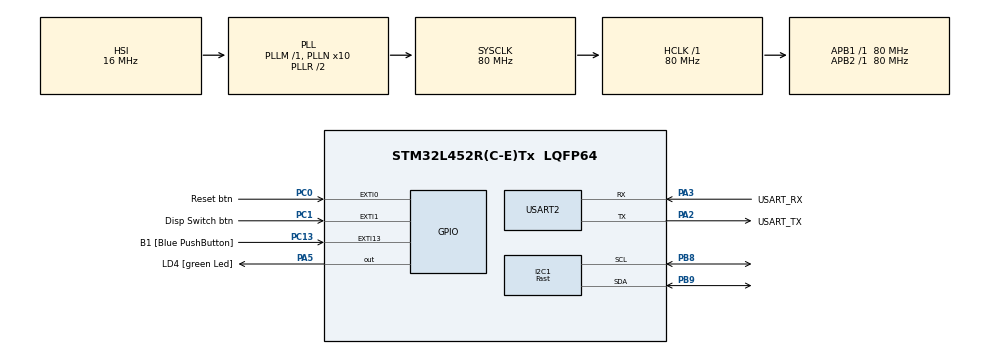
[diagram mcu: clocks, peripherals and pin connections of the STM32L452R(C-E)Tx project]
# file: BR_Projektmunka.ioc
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Dma.Request0=USART2_RX
Dma.USART2_RX.0.Direction=DMA_PERIPH_TO_MEMORY
Dma.USART2_RX.0.Instance=DMA1_Channel6
Dma.USART2_RX.0.MemDataAlignment=DMA_MDATAALIGN_BYTE
Dma.USART2_RX.0.MemInc=DMA_MINC_ENABLE
Dma.USART2_RX.0.Mode=DMA_CIRCULAR
Dma.USART2_RX.0.PeriphDataAlignment=DMA_PDATAALIGN_BYTE
Dma.USART2_RX.0.PeriphInc=DMA_PINC_DISABLE
Dma.USART2_RX.0.Priority=DMA_PRIORITY_LOW
FREERTOS.Mutexes01=mutexI2c,Dynamic,NULL,Available
FREERTOS.Queues01=displayQueue,8,s_disp_msg_t,0,Dynamic,NULL,NULL
FREERTOS.Tasks01=defaultTask,24,128,StartDefaultTask,Default,NULL,Dynamic,NULL,NULL;MeasureManagerT,24,128,StartMeasureManagerTask,Default,NULL,Dynamic,NULL,NULL;DisplayTask,16,256,StartDisplayTask,Default,NULL,Dynamic,NULL,NULL
FREERTOS.configUSE_NEWLIB_REENTRANT=1
I2C1.I2C_Speed_Mode=I2C_Fast
I2C1.Timing=0x00F12981
Mcu.Family=STM32L4
Mcu.Name=STM32L452R(C-E)Tx
Mcu.Package=LQFP64
NVIC.DMA1_Channel6_IRQn=true\:5\:0\:false\:false\:true\:true\:false\:true\:true
NVIC.EXTI0_IRQn=true\:5\:0\:false\:false\:true\:true\:true\:true\:true
NVIC.EXTI1_IRQn=true\:5\:0\:false\:false\:true\:true\:true\:true\:true
NVIC.PriorityGroup=NVIC_PRIORITYGROUP_4
NVIC.TIM2_IRQn=true\:15\:0\:false\:false\:true\:false\:false\:true\:true
NVIC.TIM6_DAC_IRQn=true\:5\:0\:false\:false\:true\:true\:true\:true\:true
NVIC.TimeBase=TIM2_IRQn
NVIC.TimeBaseIP=TIM2
NVIC.USART2_IRQn=true\:5\:0\:false\:false\:true\:true\:true\:true\:true
PA13\ (JTMS/SWDIO).GPIO_Label=TMS
PA13\ (JTMS/SWDIO).Mode=Serial_Wire
PA13\ (JTMS/SWDIO).Signal=SYS_JTMS-SWDIO
PA14\ (JTCK/SWCLK).GPIO_Label=TCK
PA14\ (JTCK/SWCLK).Mode=Serial_Wire
PA14\ (JTCK/SWCLK).Signal=SYS_JTCK-SWCLK
PA2.GPIO_Label=USART_TX
PA2.GPIO_Mode=GPIO_MODE_AF_PP
PA2.GPIO_PuPd=GPIO_NOPULL
PA2.GPIO_Speed=GPIO_SPEED_FREQ_VERY_HIGH
PA2.Mode=Asynchronous
PA2.Signal=USART2_TX
PA3.GPIO_Label=USART_RX
PA3.GPIO_Mode=GPIO_MODE_AF_PP
PA3.GPIO_PuPd=GPIO_NOPULL
PA3.GPIO_Speed=GPIO_SPEED_FREQ_VERY_HIGH
PA3.Mode=Asynchronous
PA3.Signal=USART2_RX
PA5.GPIO_Label=LD4 [green Led]
PA5.GPIO_ModeDefaultOutputPP=GPIO_MODE_OUTPUT_PP
PA5.GPIO_PuPd=GPIO_NOPULL
PA5.GPIO_Speed=GPIO_SPEED_FREQ_LOW
PA5.Signal=GPIO_Output
PB3\ (JTDO/TRACESWO).GPIO_Label=SWO
PB3\ (JTDO/TRACESWO).Signal=SYS_JTDO-SWO
PB8.Mode=I2C
PB8.Signal=I2C1_SCL
PB9.Mode=I2C
PB9.Signal=I2C1_SDA
PC0.GPIO_Label=Reset btn
PC0.GPIO_ModeDefaultEXTI=GPIO_MODE_IT_FALLING
PC0.GPIO_PuPd=GPIO_PULLUP
PC0.Signal=GPXTI0
PC1.GPIO_Label=Disp Switch btn
PC1.GPIO_ModeDefaultEXTI=GPIO_MODE_IT_FALLING
PC1.GPIO_PuPd=GPIO_PULLUP
PC1.Signal=GPXTI1
PC13.GPIO_Label=B1 [Blue PushButton]
PC13.GPIO_ModeDefaultEXTI=GPIO_MODE_IT_FALLING
PC13.GPIO_PuPd=GPIO_NOPULL
PC13.Signal=GPXTI13
PC14-OSC32_IN\ (PC14).Mode=LSE-External-Oscillator
PC14-OSC32_IN\ (PC14).Signal=RCC_OSC32_IN
PC15-OSC32_OUT\ (PC15).Mode=LSE-External-Oscillator
PC15-OSC32_OUT\ (PC15).Signal=RCC_OSC32_OUT
PH0-OSC_IN\ (PH0).Signal=RCC_OSC_IN
PH1-OSC_OUT\ (PH1).Signal=RCC_OSC_OUT
ProjectManager.HeapSize=0x200
ProjectManager.StackSize=0x400
ProjectManager.TargetToolchain=STM32CubeIDE
RCC.ADCFreq_Value=64000000
RCC.AHBFreq_Value=80000000
RCC.APB1Freq_Value=80000000
RCC.APB1TimFreq_Value=80000000
RCC.APB2Freq_Value=80000000
RCC.APB2TimFreq_Value=80000000
RCC.CortexFreq_Value=80000000
RCC.HCLKFreq_Value=80000000
RCC.HSE_VALUE=8000000
RCC.HSI48_VALUE=48000000
RCC.HSI_VALUE=16000000
RCC.MSI_VALUE=4000000
RCC.PLLN=10
RCC.PLLSourceVirtual=RCC_PLLSOURCE_HSI
RCC.PREFETCH_ENABLE=1
RCC.RTCClockSelection=RCC_RTCCLKSOURCE_LSE
RCC.SYSCLKFreq_VALUE=80000000
RCC.SYSCLKSource=RCC_SYSCLKSOURCE_PLLCLK
RCC.USBFreq_Value=64000000
RCC.VCOOutputFreq_Value=160000000
RTC.Format=RTC_FORMAT_BIN
RTC.WeekDay=RTC_WEEKDAY_THURSDAY
RTC.Year=26
TIM6.AutoReloadPreload=TIM_AUTORELOAD_PRELOAD_ENABLE
TIM6.Period=99
TIM6.Prescaler=7999
USART2.VirtualMode-Asynchronous=VM_ASYNC
VP_FREERTOS_VS_CMSIS_V2.Mode=CMSIS_V2
VP_RTC_VS_RTC_Activate.Mode=RTC_Enabled
VP_RTC_VS_RTC_Calendar.Mode=RTC_Calendar
VP_SYS_VS_tim2.Mode=TIM2
VP_TIM6_VS_ClockSourceINT.Mode=Enable_Timer
board=NUCLEO-L452RE

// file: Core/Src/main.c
/* USER CODE BEGIN Header */
/**
 ******************************************************************************
 * @file           : main.c
 * @brief          : Main program body
 ******************************************************************************
 * @attention
 *
 * Copyright (c) 2026 STMicroelectronics.
 * All rights reserved.
 *
 * This software is licensed under terms that can be found in the LICENSE file
 * in the root directory of this software component.
 * If no LICENSE file comes with this software, it is provided AS-IS.
 *
 ******************************************************************************
 */
/* USER CODE END Header */
#include "main.h"
#include "cmsis_os.h"

/* USER CODE BEGIN Includes */
#include <stdio.h>
#include "display_driver.h"
#include "display_module.h"
#include "ugui.h"
#include "step_counter.h"
#include "accelerometer_driver.h"
#include "ir_sensor.h"
#include "pulse_meter.h"
#include "uart_comm.h"
/* USER CODE END Includes */

/* USER CODE BEGIN PD */
#define FLAG_MEASURE_TICK  0x0001U  // TIM6 -> MeasureManagerT: next 10 ms sample
#define FLAG_STEP_RESET    0x0002U  // Reset button (EXTI0) -> MeasureManagerT

#define DISPLAY_REFRESH_MS    1000u  // Redraw period without new messages (clock)
#define BTN_DEBOUNCE_MS       200u   // Ignore further edges of a button for 200 ms after a press
/* USER CODE END PD */

I2C_HandleTypeDef hi2c1;

RTC_HandleTypeDef hrtc;

TIM_HandleTypeDef htim6;

UART_HandleTypeDef huart2;
DMA_HandleTypeDef hdma_usart2_rx;

/* Definitions for defaultTask */
osThreadId_t defaultTaskHandle;
const osThreadAttr_t defaultTask_attributes = { .name = "defaultTask",
		.stack_size = 128 * 4, .priority = (osPriority_t) osPriorityNormal, };
/* Definitions for MeasureManagerT */
osThreadId_t MeasureManagerTHandle;
const osThreadAttr_t MeasureManagerT_attributes = { .name = "MeasureManagerT",
		.stack_size = 128 * 4, .priority = (osPriority_t) osPriorityNormal, };
/* Definitions for DisplayTask */
osThreadId_t DisplayTaskHandle;
const osThreadAttr_t DisplayTask_attributes =
		{ .name = "DisplayTask", .stack_size = 256 * 4, .priority =
				(osPriority_t) osPriorityBelowNormal, };
/* Definitions for displayQueue */
osMessageQueueId_t displayQueueHandle;
const osMessageQueueAttr_t displayQueue_attributes = { .name = "displayQueue" };
/* Definitions for mutexI2c */
osMutexId_t mutexI2cHandle;
const osMutexAttr_t mutexI2c_attributes = { .name = "mutexI2c" };

void SystemClock_Config(void);
static void MX_GPIO_Init(void);
static void MX_DMA_Init(void);
static void MX_USART2_UART_Init(void);
static void MX_TIM6_Init(void);
static void MX_I2C1_Init(void);
static void MX_RTC_Init(void);
void StartDefaultTask(void *argument);
void StartMeasureManagerTask(void *argument);
void StartDisplayTask(void *argument);

/* USER CODE BEGIN 0 */
/*******************************************************************************
 ********************** PLATFORM SPECIFIC PORT FUNCTIONS ***********************
 ******************************************************************************/
int port_i2c_transmit(uint16_t dev_addr, uint16_t mem_addr,
		uint16_t mem_addr_size, uint8_t *pdata, uint16_t size, uint32_t timeout) {
	// I2C1 is shared between tasks (display, accelerometer, IR sensor) -> serialize access
	if (osMutexAcquire(mutexI2cHandle, osWaitForever) != osOK)
		return HAL_BUSY;
	int ret = HAL_I2C_Mem_Write(&hi2c1, dev_addr, mem_addr, mem_addr_size,
			pdata, size, timeout);
	osMutexRelease(mutexI2cHandle);
	return ret;
}

int port_i2c_receive(uint16_t dev_addr, uint16_t mem_addr,
		uint16_t mem_addr_size, uint8_t *pdata, uint16_t size, uint32_t timeout) {
	// I2C1 is shared between tasks (display, accelerometer, IR sensor) -> serialize access
	if (osMutexAcquire(mutexI2cHandle, osWaitForever) != osOK)
		return HAL_BUSY;
	int ret = HAL_I2C_Mem_Read(&hi2c1, dev_addr, mem_addr, mem_addr_size, pdata,
			size, timeout);
	osMutexRelease(mutexI2cHandle);
	return ret;
}
void HAL_UART_RxCpltCallback(UART_HandleTypeDef *huart) {
	if (huart->Instance == USART2) {
		UartComm_RxCharReceived(g_uart_rx_char[0u]);
	}
}

void port_time_delay(uint32_t delay_ms) {
//  HAL_Delay(delay_ms);
	osDelay(delay_ms);
}

uint32_t get_systick(void) {
	return HAL_GetTick();
}

/* USER CODE END 0 */

int main(void) {

	/* MCU Configuration--------------------------------------------------------*/

	/* Reset of all peripherals, Initializes the Flash interface and the Systick. */
	HAL_Init();

	/* Configure the system clock */
	SystemClock_Config();

	/* Initialize all configured peripherals */
	MX_GPIO_Init();
	MX_DMA_Init();
	MX_USART2_UART_Init();
	MX_TIM6_Init();
	MX_I2C1_Init();
	MX_RTC_Init();
	/* USER CODE BEGIN 2 */
	HAL_TIM_Base_Start_IT(&htim6);
	HAL_UART_Receive_DMA(&huart2, g_uart_rx_char, 1u);
	/* USER CODE END 2 */

	/* Init scheduler */
	osKernelInitialize();
	/* Create the mutex(es) */
	/* creation of mutexI2c */
	mutexI2cHandle = osMutexNew(&mutexI2c_attributes);

	/* Create the queue(s) */
	/* creation of displayQueue */
	displayQueueHandle = osMessageQueueNew(8, sizeof(s_disp_msg_t),
			&displayQueue_attributes);

	/* Create the thread(s) */
	/* creation of defaultTask */
	defaultTaskHandle = osThreadNew(StartDefaultTask, NULL,
			&defaultTask_attributes);

	/* creation of MeasureManagerT */
	MeasureManagerTHandle = osThreadNew(StartMeasureManagerTask, NULL,
			&MeasureManagerT_attributes);

	/* creation of DisplayTask */
	DisplayTaskHandle = osThreadNew(StartDisplayTask, NULL,
			&DisplayTask_attributes);

	/* Start scheduler */
	osKernelStart();

	/* We should never get here as control is now taken by the scheduler */

	/* Infinite loop */
	while (1) {

	}
}

void SystemClock_Config(void) {
	RCC_OscInitTypeDef RCC_OscInitStruct = { 0 };
	RCC_ClkInitTypeDef RCC_ClkInitStruct = { 0 };

	/** Configure the main internal regulator output voltage
	 */
	if (HAL_PWREx_ControlVoltageScaling(PWR_REGULATOR_VOLTAGE_SCALE1)
			!= HAL_OK) {
		Error_Handler();
	}

	/** Configure LSE Drive Capability
	 */
	HAL_PWR_EnableBkUpAccess();
	__HAL_RCC_LSEDRIVE_CONFIG(RCC_LSEDRIVE_LOW);

	/** Initializes the RCC Oscillators according to the specified parameters
	 * in the RCC_OscInitTypeDef structure.
	 */
	RCC_OscInitStruct.OscillatorType = RCC_OSCILLATORTYPE_HSI
			| RCC_OSCILLATORTYPE_LSE;
	RCC_OscInitStruct.LSEState = RCC_LSE_ON;
	RCC_OscInitStruct.HSIState = RCC_HSI_ON;
	RCC_OscInitStruct.HSICalibrationValue = 64;
	RCC_OscInitStruct.PLL.PLLState = RCC_PLL_ON;
	RCC_OscInitStruct.PLL.PLLSource = RCC_PLLSOURCE_HSI;
	RCC_OscInitStruct.PLL.PLLM = 1;
	RCC_OscInitStruct.PLL.PLLN = 10;
	RCC_OscInitStruct.PLL.PLLP = RCC_PLLP_DIV7;
	RCC_OscInitStruct.PLL.PLLQ = RCC_PLLQ_DIV2;
	RCC_OscInitStruct.PLL.PLLR = RCC_PLLR_DIV2;
	if (HAL_RCC_OscConfig(&RCC_OscInitStruct) != HAL_OK) {
		Error_Handler();
	}

	/** Initializes the CPU, AHB and APB buses clocks
	 */
	RCC_ClkInitStruct.ClockType = RCC_CLOCKTYPE_HCLK | RCC_CLOCKTYPE_SYSCLK
			| RCC_CLOCKTYPE_PCLK1 | RCC_CLOCKTYPE_PCLK2;
	RCC_ClkInitStruct.SYSCLKSource = RCC_SYSCLKSOURCE_PLLCLK;
	RCC_ClkInitStruct.AHBCLKDivider = RCC_SYSCLK_DIV1;
	RCC_ClkInitStruct.APB1CLKDivider = RCC_HCLK_DIV1;
	RCC_ClkInitStruct.APB2CLKDivider = RCC_HCLK_DIV1;

	if (HAL_RCC_ClockConfig(&RCC_ClkInitStruct, FLASH_LATENCY_4) != HAL_OK) {
		Error_Handler();
	}
}

static void MX_I2C1_Init(void) {

	hi2c1.Instance = I2C1;
	hi2c1.Init.Timing = 0x00F12981;
	hi2c1.Init.OwnAddress1 = 0;
	hi2c1.Init.AddressingMode = I2C_ADDRESSINGMODE_7BIT;
	hi2c1.Init.DualAddressMode = I2C_DUALADDRESS_DISABLE;
	hi2c1.Init.OwnAddress2 = 0;
	hi2c1.Init.OwnAddress2Masks = I2C_OA2_NOMASK;
	hi2c1.Init.GeneralCallMode = I2C_GENERALCALL_DISABLE;
	hi2c1.Init.NoStretchMode = I2C_NOSTRETCH_DISABLE;
	if (HAL_I2C_Init(&hi2c1) != HAL_OK) {
		Error_Handler();
	}

	/** Configure Analogue filter
	 */
	if (HAL_I2CEx_ConfigAnalogFilter(&hi2c1, I2C_ANALOGFILTER_ENABLE)
			!= HAL_OK) {
		Error_Handler();
	}

	/** Configure Digital filter
	 */
	if (HAL_I2CEx_ConfigDigitalFilter(&hi2c1, 0) != HAL_OK) {
		Error_Handler();
	}

}

static void MX_RTC_Init(void) {

	RTC_TimeTypeDef sTime = { 0 };
	RTC_DateTypeDef sDate = { 0 };

	/** Initialize RTC Only
	 */
	hrtc.Instance = RTC;
	hrtc.Init.HourFormat = RTC_HOURFORMAT_24;
	hrtc.Init.AsynchPrediv = 127;
	hrtc.Init.SynchPrediv = 255;
	hrtc.Init.OutPut = RTC_OUTPUT_DISABLE;
	hrtc.Init.OutPutRemap = RTC_OUTPUT_REMAP_NONE;
	hrtc.Init.OutPutPolarity = RTC_OUTPUT_POLARITY_HIGH;
	hrtc.Init.OutPutType = RTC_OUTPUT_TYPE_OPENDRAIN;
	if (HAL_RTC_Init(&hrtc) != HAL_OK) {
		Error_Handler();
	}

	/** Initialize RTC and set the Time and Date
	 */
	sTime.Hours = 0;
	sTime.Minutes = 0;
	sTime.Seconds = 0;
	sTime.DayLightSaving = RTC_DAYLIGHTSAVING_NONE;
	sTime.StoreOperation = RTC_STOREOPERATION_RESET;
	if (HAL_RTC_SetTime(&hrtc, &sTime, RTC_FORMAT_BIN) != HAL_OK) {
		Error_Handler();
	}
	sDate.WeekDay = RTC_WEEKDAY_THURSDAY;
	sDate.Month = RTC_MONTH_JANUARY;
	sDate.Date = 1;
	sDate.Year = 26;

	if (HAL_RTC_SetDate(&hrtc, &sDate, RTC_FORMAT_BIN) != HAL_OK) {
		Error_Handler();
	}

}

static void MX_TIM6_Init(void) {

	TIM_MasterConfigTypeDef sMasterConfig = { 0 };

	htim6.Instance = TIM6;
	htim6.Init.Prescaler = 7999;
	htim6.Init.CounterMode = TIM_COUNTERMODE_UP;
	htim6.Init.Period = 99;
	htim6.Init.AutoReloadPreload = TIM_AUTORELOAD_PRELOAD_ENABLE;
	if (HAL_TIM_Base_Init(&htim6) != HAL_OK) {
		Error_Handler();
	}
	sMasterConfig.MasterOutputTrigger = TIM_TRGO_RESET;
	sMasterConfig.MasterSlaveMode = TIM_MASTERSLAVEMODE_DISABLE;
	if (HAL_TIMEx_MasterConfigSynchronization(&htim6, &sMasterConfig)
			!= HAL_OK) {
		Error_Handler();
	}

}

static void MX_USART2_UART_Init(void) {

	huart2.Instance = USART2;
	huart2.Init.BaudRate = 115200;
	huart2.Init.WordLength = UART_WORDLENGTH_8B;
	huart2.Init.StopBits = UART_STOPBITS_1;
	huart2.Init.Parity = UART_PARITY_NONE;
	huart2.Init.Mode = UART_MODE_TX_RX;
	huart2.Init.HwFlowCtl = UART_HWCONTROL_NONE;
	huart2.Init.OverSampling = UART_OVERSAMPLING_16;
	huart2.Init.OneBitSampling = UART_ONE_BIT_SAMPLE_DISABLE;
	huart2.AdvancedInit.AdvFeatureInit = UART_ADVFEATURE_NO_INIT;
	if (HAL_UART_Init(&huart2) != HAL_OK) {
		Error_Handler();
	}

}

static void MX_DMA_Init(void) {

	/* DMA controller clock enable */
	__HAL_RCC_DMA1_CLK_ENABLE();

	/* DMA interrupt init */
	/* DMA1_Channel6_IRQn interrupt configuration */
	HAL_NVIC_SetPriority(DMA1_Channel6_IRQn, 5, 0);
	HAL_NVIC_EnableIRQ(DMA1_Channel6_IRQn);

}

static void MX_GPIO_Init(void) {
	GPIO_InitTypeDef GPIO_InitStruct = { 0 };

	/* GPIO Ports Clock Enable */
	__HAL_RCC_GPIOC_CLK_ENABLE();
	__HAL_RCC_GPIOH_CLK_ENABLE();
	__HAL_RCC_GPIOA_CLK_ENABLE();
	__HAL_RCC_GPIOB_CLK_ENABLE();

	/*Configure GPIO pin Output Level */
	HAL_GPIO_WritePin(LD4_GPIO_Port, LD4_Pin, GPIO_PIN_RESET);

	/*Configure GPIO pin : B1_Pin */
	GPIO_InitStruct.Pin = B1_Pin;
	GPIO_InitStruct.Mode = GPIO_MODE_IT_FALLING;
	GPIO_InitStruct.Pull = GPIO_NOPULL;
	HAL_GPIO_Init(B1_GPIO_Port, &GPIO_InitStruct);

	/*Configure GPIO pins : Reset_btn_Pin Disp_Switch_btn_Pin */
	GPIO_InitStruct.Pin = Reset_btn_Pin | Disp_Switch_btn_Pin;
	GPIO_InitStruct.Mode = GPIO_MODE_IT_FALLING;
	GPIO_InitStruct.Pull = GPIO_PULLUP;
	HAL_GPIO_Init(GPIOC, &GPIO_InitStruct);

	/*Configure GPIO pin : LD4_Pin */
	GPIO_InitStruct.Pin = LD4_Pin;
	GPIO_InitStruct.Mode = GPIO_MODE_OUTPUT_PP;
	GPIO_InitStruct.Pull = GPIO_NOPULL;
	GPIO_InitStruct.Speed = GPIO_SPEED_FREQ_LOW;
	HAL_GPIO_Init(LD4_GPIO_Port, &GPIO_InitStruct);

	/* EXTI interrupt init*/
	HAL_NVIC_SetPriority(EXTI0_IRQn, 5, 0);
	HAL_NVIC_EnableIRQ(EXTI0_IRQn);

	HAL_NVIC_SetPriority(EXTI1_IRQn, 5, 0);
	HAL_NVIC_EnableIRQ(EXTI1_IRQn);

}

/* USER CODE BEGIN 4 */
/**
 * @brief  EXTI callback for the buttons (falling edge = press, pull-up active)
 * @note   Runs in interrupt context: only non-blocking RTOS calls (timeout 0)
 * @param  GPIO_Pin: pin that triggered the interrupt
 */
void HAL_GPIO_EXTI_Callback(uint16_t GPIO_Pin) {
	static uint32_t last_reset_press = 0;   // Separate debounce time per button
	static uint32_t last_switch_press = 0;
	uint32_t now = HAL_GetTick();

	if (GPIO_Pin == Reset_btn_Pin) {
		// Debounce: ignore bounces / repeated edges, and accept only if the pin is really low
		if (((now - last_reset_press) < BTN_DEBOUNCE_MS)
				|| (HAL_GPIO_ReadPin(Reset_btn_GPIO_Port, Reset_btn_Pin)
						!= GPIO_PIN_RESET))
			return;
		last_reset_press = now;

		// step_hnd belongs to MeasureManagerT -> let the task do the reset
		osThreadFlagsSet(MeasureManagerTHandle, FLAG_STEP_RESET);
	} else if (GPIO_Pin == Disp_Switch_btn_Pin) {
		if (((now - last_switch_press) < BTN_DEBOUNCE_MS)
				|| (HAL_GPIO_ReadPin(Disp_Switch_btn_GPIO_Port,
				Disp_Switch_btn_Pin) != GPIO_PIN_RESET))
			return;
		last_switch_press = now;

		// Only the display cares about the mode -> send directly to its queue
		s_disp_msg_t msg = { DISP_MSG_MODE_NEXT, 0 };
		osMessageQueuePut(displayQueueHandle, &msg, 0, 0);
	}
}

/* USER CODE END 4 */

void StartDefaultTask(void *argument) {
	/* USER CODE BEGIN 5 */
	/* Infinite loop */
	for (;;) {
		UartComm_Process();
		osDelay(1);
	}
	/* USER CODE END 5 */
}

void StartMeasureManagerTask(void *argument) {
	/* USER CODE BEGIN StartMeasureManagerTask */
	s_step_counter_handle_t step_hnd;
	init_step_counter(&step_hnd);
	init_accelerometer();

	s_pulse_meter_handle_t pulse_hnd;
	init_pulse_meter(&pulse_hnd);
	init_ir_sensor();

	uint32_t last_steps = UINT32_MAX; // Force sending the first values to the display
	uint32_t last_bpm = UINT32_MAX;
	s_disp_msg_t msg;
	/* Infinite loop */
	for (;;) {
		// Sleep until TIM6 signals the next 10 ms tick or the reset button was pressed
		// (the received flags are cleared automatically)
		uint32_t flags = osThreadFlagsWait(FLAG_MEASURE_TICK | FLAG_STEP_RESET,
		osFlagsWaitAny, osWaitForever);
		if (flags & osFlagsError)
			continue;

		// Reset step_count if the reset button was pressed
		if (flags & FLAG_STEP_RESET) {
			set_step_count(&step_hnd, 0);
			UartComm_ResetStepLogs();
		}

		if (flags & FLAG_MEASURE_TICK) {
			calc_step(&step_hnd);
			calc_bpm(&pulse_hnd);
		}

		// Send values to the display only if they changed (timeout 0: never block the measurement)
		uint32_t steps = get_step_count(&step_hnd);
		if (steps != last_steps) {

			UartComm_LogStep(steps);

			msg.type = DISP_MSG_STEPS;
			msg.value = steps;
			if (osMessageQueuePut(displayQueueHandle, &msg, 0, 0) == osOK)
				last_steps = steps; // retry next tick if full
		}

		uint32_t bpm = get_bpm(&pulse_hnd);
		if (bpm != last_bpm) {

			if (bpm > 0u) {
				UartComm_LogHr(bpm);
			}

			msg.type = DISP_MSG_BPM;
			msg.value = bpm;
			if (osMessageQueuePut(displayQueueHandle, &msg, 0, 0) == osOK)
				last_bpm = bpm;
		}
	}
	/* USER CODE END StartMeasureManagerTask */
}

void StartDisplayTask(void *argument) {
	/* USER CODE BEGIN StartDisplayTask */

	gme12864_init();
	display_graphics_init();
	e_disp_mode_t display_mode = DISP_MODE_PULSE_METER;
	uint32_t step_count = 0;  // Latest values received from the measure task
	uint8_t bpm = 0;
	s_disp_msg_t msg;
	/* Infinite loop */
	for (;;) {
		switch (display_mode) {
		case DISP_MODE_CLOCK:
			render_clock_frame();
			break;

		case DISP_MODE_STEP_COUNTER:
			render_step_counter_frame(step_count);
			break;

		case DISP_MODE_PULSE_METER:
			render_pulse_meter_frame(bpm);
			break;

		default:
			break;
		}

		// Sleep until a message arrives (or the refresh period elapses, e.g. for the clock),
		// then process every pending message before the next redraw
		uint32_t timeout = DISPLAY_REFRESH_MS;
		while (osMessageQueueGet(displayQueueHandle, &msg, NULL, timeout)
				== osOK) {
			switch (msg.type) {
			case DISP_MSG_STEPS:
				step_count = msg.value;
				break;

			case DISP_MSG_BPM:
				bpm = (uint8_t) msg.value;
				break;

			case DISP_MSG_MODE_NEXT:
				display_mode = (display_mode + 1) % DISP_MODE_NUMBER;
				break;

			default:
				break;
			}
			timeout = 0; // Only drain the rest of the queue, do not wait again
		}
	}
	/* USER CODE END StartDisplayTask */
}

void HAL_TIM_PeriodElapsedCallback(TIM_HandleTypeDef *htim) {
	/* USER CODE BEGIN Callback 0 */
	if (htim->Instance == TIM6) {
		osThreadFlagsSet(MeasureManagerTHandle, FLAG_MEASURE_TICK);
	}
	/* USER CODE END Callback 0 */
	if (htim->Instance == TIM2) {
		HAL_IncTick();
	}
}

void Error_Handler(void) {
	__disable_irq();
	while (1) {
	}
}
